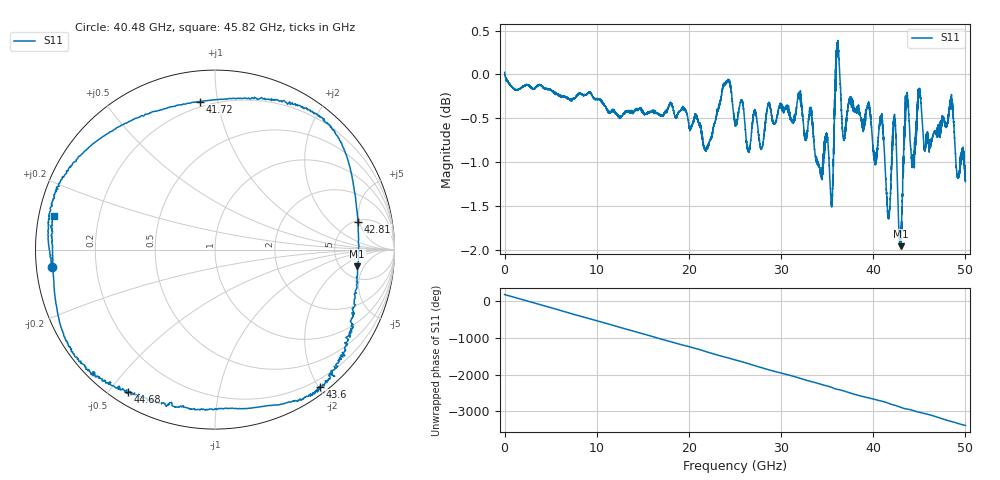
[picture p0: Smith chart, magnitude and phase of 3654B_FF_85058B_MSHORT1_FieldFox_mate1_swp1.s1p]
!Created with skrf (http://scikit-rf.org).
# Hz S RI R 50.0
!freq ReS11 ImS11
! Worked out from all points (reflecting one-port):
!   10000 points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, 5.3 MHz to 50 GHz, reference 50 ohm
!   lowest |S11| = -2.0 dB at 42.97 GHz (marker M1), VSWR 8.89, Z = 350 - j181 ohm
!   phase of S11 starts at 180 deg and turns -3561 deg over the sweep
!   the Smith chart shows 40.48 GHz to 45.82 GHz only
!   S11 on the Smith chart (normalised r, x): 40.48 GHz: 0.05, -0.05; 41.72 GHz: 0.17, +0.89; 42.81 GHz: 5.22, +4.72; 43.6 GHz: 0.10, -2.03; 44.68 GHz: 0.05, -0.56; 45.82 GHz: 0.04, +0.10
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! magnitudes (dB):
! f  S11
! 5.3 MHz  0.0
! 6.255 GHz  -0.2
! 12.51 GHz  -0.5
! 18.76 GHz  -0.5
! 21.89 GHz  -0.9
! 24.2 GHz  -0.1
! 25.01 GHz  -0.5
! 31.26 GHz  -0.5
! 34.28 GHz  -1.1
! 34.94 GHz  -0.7
! 35.44 GHz  -1.5
! 36.12 GHz  0.3
! 36.78 GHz  -0.7
! 37.51 GHz  -0.3
! 40.48 GHz  -0.8
! 40.94 GHz  -0.6
! 41.72 GHz  -1.6
! 42.3 GHz  -0.5
! 42.81 GHz  -1.8
! 42.97 GHz  -2.0
! 43.6 GHz  -0.3
! 43.76 GHz  -0.3
! 44.25 GHz  -1.0
! 44.68 GHz  -0.6
! 45.82 GHz  -0.7
! 48.44 GHz  -0.3
! 49.14 GHz  -1.2
! 50 GHz  -1.2
